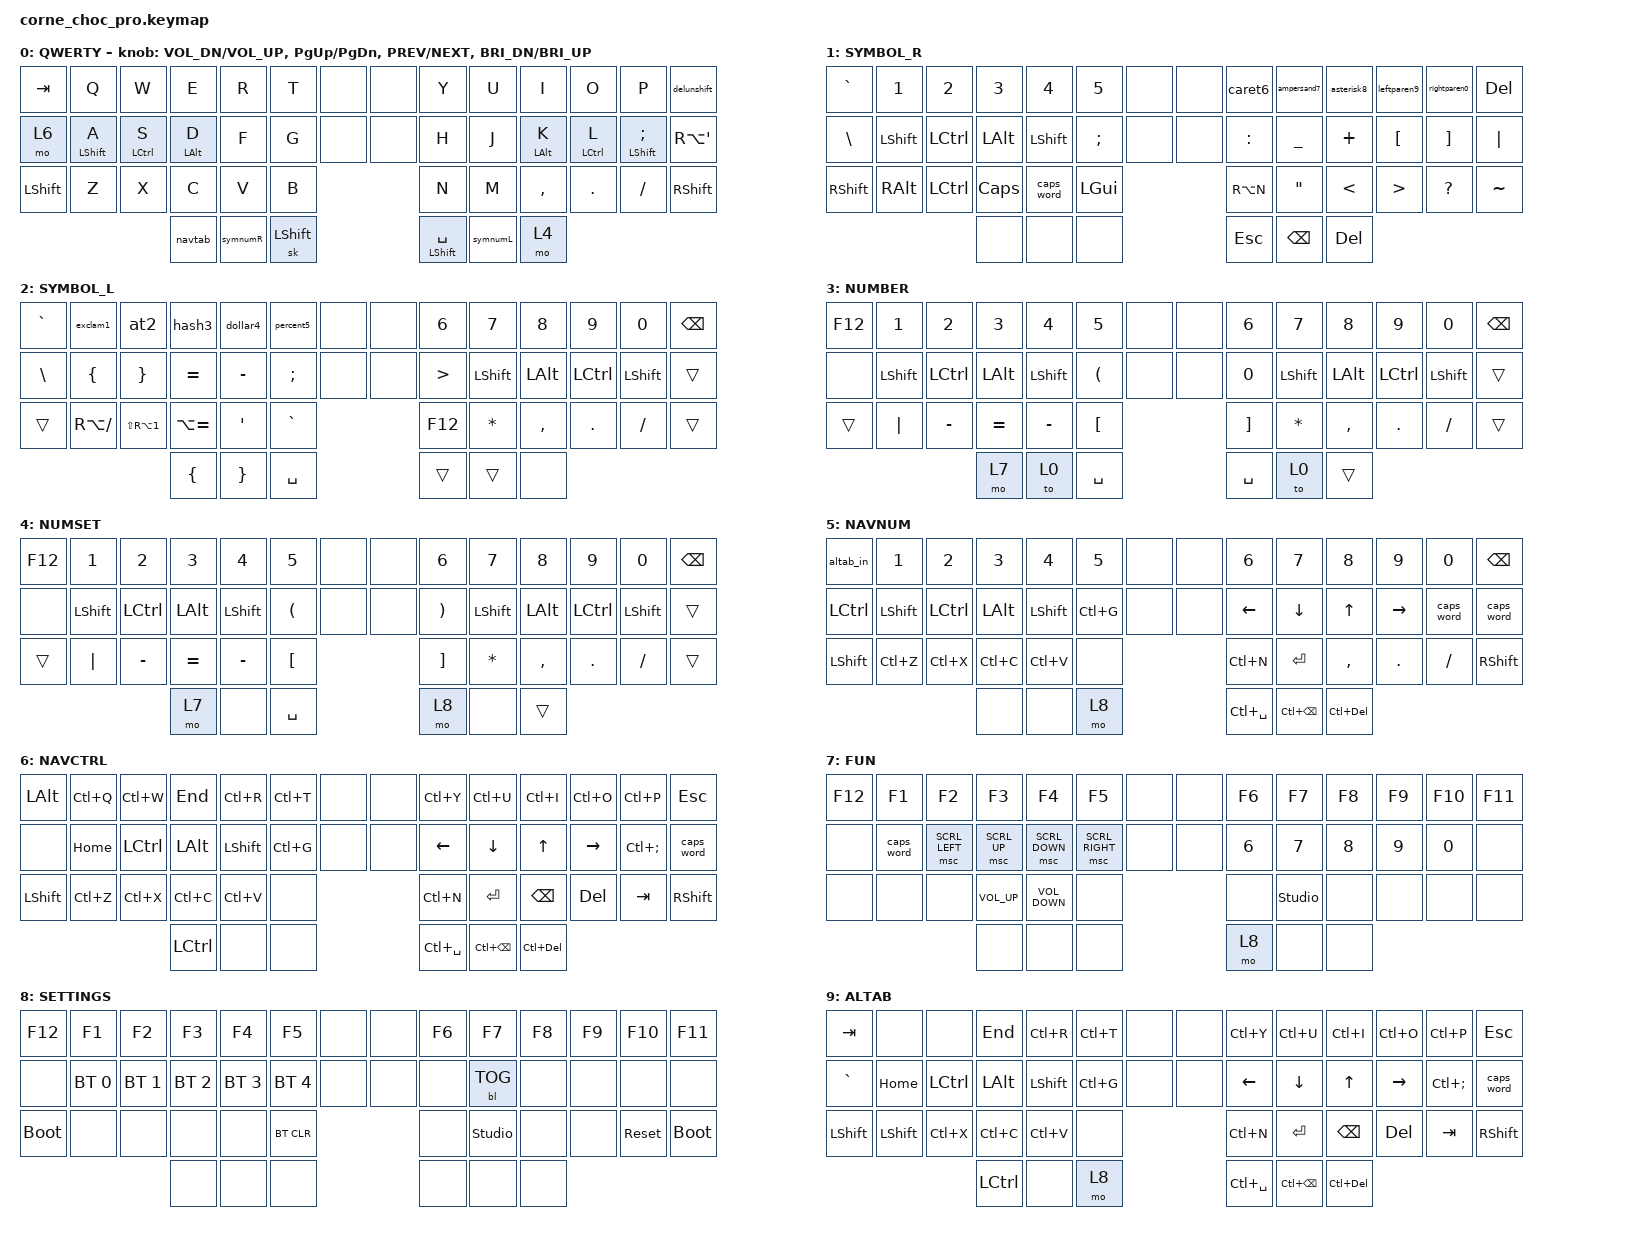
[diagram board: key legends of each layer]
/*
 * Copyright (c) 2020 The ZMK Contributors
 *
 * SPDX-License-Identifier: MIT
 */

#include <behaviors.dtsi>
#include <dt-bindings/zmk/backlight.h>
#include <dt-bindings/zmk/bt.h>
#include <dt-bindings/zmk/keys.h>
#include <dt-bindings/zmk/pointing.h>

&sk { quick-release; };

/ {
    chosen { zmk,physical-layout = &default_layout; };
};

/ {
    behaviors {
        hml: hml {
            compatible = "zmk,behavior-hold-tap";
            label = "HML";
            bindings = <&kp>, <&kp>;

            #binding-cells = <2>;
            tapping-term-ms = <280>;
            quick-tap-ms = <175>;
            require-prior-idle-ms = <150>;
            flavor = "balanced";
            hold-trigger-key-positions = <7 8 9 10 11 12 13 21 22 23 24 25 26 27 34 35 36 37 38 39 43 44 45 42>;
            hold-trigger-on-release;
        };

        hmr: hmr {
            compatible = "zmk,behavior-hold-tap";
            label = "HMR";
            bindings = <&kp>, <&kp>;

            #binding-cells = <2>;
            tapping-term-ms = <280>;
            quick-tap-ms = <175>;
            require-prior-idle-ms = <150>;
            flavor = "balanced";
            hold-trigger-on-release;
            hold-trigger-key-positions = <0 1 2 3 4 5 6 14 15 16 17 18 19 20 28 29 30 31 32 33 40 41 42>;
        };

        caret6: caret6 {
            compatible = "zmk,behavior-mod-morph";
            label = "CARET6";
            bindings = <&kp CARET>, <&kp NUMBER_6>;

            #binding-cells = <0>;
            mods = <(MOD_LSFT|MOD_RSFT)>;
        };

        ampersand7: ampersand7 {
            compatible = "zmk,behavior-mod-morph";
            label = "AMPERSAND7";
            bindings = <&kp AMPERSAND>, <&kp N7>;

            #binding-cells = <0>;
            mods = <(MOD_LSFT|MOD_RSFT)>;
        };

        asterisk8: asterisk8 {
            compatible = "zmk,behavior-mod-morph";
            label = "ASTERISK8";
            bindings = <&kp ASTERISK>, <&kp N8>;

            #binding-cells = <0>;
            mods = <(MOD_LSFT|MOD_RSFT)>;
        };

        leftparen9: leftparen9 {
            compatible = "zmk,behavior-mod-morph";
            label = "LEFTPAREN9";
            bindings = <&kp LEFT_PARENTHESIS>, <&kp N9>;

            #binding-cells = <0>;
            mods = <(MOD_LSFT|MOD_RSFT)>;
        };

        rightparen0: rightparen0 {
            compatible = "zmk,behavior-mod-morph";
            label = "RIGHTPAREN0";
            bindings = <&kp RIGHT_PARENTHESIS>, <&kp N0>;

            #binding-cells = <0>;
            mods = <(MOD_LSFT|MOD_RSFT)>;
        };

        mtbr: mtbr {
            compatible = "zmk,behavior-hold-tap";
            label = "mod-tap-balanced-right";
            bindings = <&kp>, <&kp>;

            #binding-cells = <2>;
            tapping-term-ms = <180>;
            quick-tap-ms = <150>;
            flavor = "tap-preferred";
            hold-trigger-key-positions = <0 1 2 3 4 5 6 14 15 16 17 18 19 20 28 29 30 31 32 33 40 41 42>;
        };

        mtbl: mtbl {
            compatible = "zmk,behavior-hold-tap";
            label = "mod-tap-balanced-left";
            bindings = <&kp>, <&kp>;

            #binding-cells = <2>;
            tapping-term-ms = <180>;
            quick-tap-ms = <150>;
            flavor = "balanced";
            hold-trigger-key-positions = <7 12 13 21 22 23 24 25 26 27 34 35 36 37 38 39 43 44 45 11 10 9 8>;
        };

        delunshift: delunshift {
            compatible = "zmk,behavior-mod-morph";
            label = "DELUNSHIFT";
            bindings = <&kp BACKSPACE>, <&kt LSHIFT>;

            #binding-cells = <0>;
            mods = <(MOD_LSFT)>;
        };

        symnumL: symnumL {
            compatible = "zmk,behavior-tap-dance";
            label = "SYMNUML";
            #binding-cells = <0>;
            bindings = <&mo 2>, <&mo_tog 3 3>;

            tapping-term-ms = <180>;
        };

        exclam1: exclam1 {
            compatible = "zmk,behavior-mod-morph";
            label = "EXCLAM1";
            bindings = <&kp EXCLAMATION>, <&kp NUMBER_1>;

            #binding-cells = <0>;
            mods = <(MOD_LSFT|MOD_RSFT)>;
        };

        at2: at2 {
            compatible = "zmk,behavior-mod-morph";
            label = "AT2";
            bindings = <&kp AT_SIGN>, <&kp NUMBER_2>;

            #binding-cells = <0>;
            mods = <(MOD_LSFT|MOD_RSFT)>;
        };

        hash3: hash3 {
            compatible = "zmk,behavior-mod-morph";
            label = "HASH3";
            bindings = <&kp POUND>, <&kp NUMBER_3>;

            #binding-cells = <0>;
            mods = <(MOD_LSFT|MOD_RSFT)>;
        };

        mo_tog: mo_tog {
            compatible = "zmk,behavior-hold-tap";
            label = "MO_TOG";
            bindings = <&mo>, <&tog>;

            #binding-cells = <2>;
            tapping-term-ms = <200>;
        };

        symnumR: symnumR {
            compatible = "zmk,behavior-tap-dance";
            label = "SYMNUMR";
            #binding-cells = <0>;
            bindings = <&mo 1>, <&mo_tog 3 3>;

            tapping-term-ms = <180>;
        };

        dollar4: dollar4 {
            compatible = "zmk,behavior-mod-morph";
            label = "DOLLAR4";
            bindings = <&kp DOLLAR>, <&kp NUMBER_3>;

            #binding-cells = <0>;
            mods = <(MOD_LSFT|MOD_RSFT)>;
        };

        percent5: percent5 {
            compatible = "zmk,behavior-mod-morph";
            label = "PERCENT5";
            bindings = <&kp PERCENT>, <&kp NUMBER_5>;

            #binding-cells = <0>;
            mods = <(MOD_LSFT|MOD_RSFT)>;
        };
    };

    macros {
        navtab: nav_and_altab {
            compatible = "zmk,behavior-macro";
            #binding-cells = <0>;
            bindings =
                <&macro_press>,
                <&to 5>,
                <&macro_pause_for_release>,
                <&macro_release>,
                <&kp LALT>,
                <&macro_tap>,
                <&to 0>;

            label = "NAV_AND_ALTAB";
            wait-ms = <0>;
            tap-ms = <0>;
        };

        altab_in: altab_enter {
            compatible = "zmk,behavior-macro";
            #binding-cells = <0>;
            bindings =
                <&macro_press>,
                <&kp LALT>,
                <&macro_tap>,
                <&kp TAB &to 9>;

            label = "ALTAB_ENTER";
            wait-ms = <10>;
            tap-ms = <20>;
        };
    };

    keymap {
        compatible = "zmk,keymap";

        base {
            display-name = "QWERTY";

            // --------------------------------------------------------------------------------
            // |  TAB |  Q  |  W  |  E  |  R  |  T  |  MUTE |  PP   |  Y  |  U   |  I  |  O  |  P  | BSPC |
            // | CTRL |  A  |  S  |  D  |  F  |  G  |  LALT |  RALT |  H  |  J   |  K  |  L  |  ;  |  '   |
            // | SHFT |  Z  |  X  |  C  |  V  |  B  |               |  N  |  M   |  ,  |  .  |  /  | ESC  |
            //                    | GUI | LWR | SPC |               | ENT | RSE  | ALT |

            bindings = <
&kp TAB    &kp Q              &kp W                &kp E            &kp R     &kp T      &none  &none  &kp Y                   &kp U     &kp I            &kp O                &kp P                 &delunshift
&mo 6      &hml LEFT_SHIFT A  &hml LEFT_CONTROL S  &hml LEFT_ALT D  &kp F     &kp G      &none  &none  &kp H                   &kp J     &hmr LEFT_ALT K  &hmr LEFT_CONTROL L  &hmr LEFT_SHIFT SEMI  &kp RA(SQT)
&kp LSHFT  &kp Z              &kp X                &kp C            &kp V     &kp B                    &kp N                   &kp M     &kp COMMA        &kp DOT              &kp FSLH              &kp RSHFT
                                                   &navtab          &symnumR  &sk LSHFT                &mtbr LEFT_SHIFT SPACE  &symnumL  &mo 4
            >;

            sensor-bindings = <&inc_dec_kp C_VOL_DN C_VOL_UP &inc_dec_kp PG_UP PG_DN &inc_dec_kp C_PREV C_NEXT &inc_dec_kp C_BRI_DN C_BRI_UP>;
        };

        symbol-right {
            display-name = "SYMBOL_R";

            // -----------------------------------------------------------------------------------------
            // |  TAB |  !  |  @  |  #  |  $  |  %  | LCTRL | RCTRL |  ^  |  &  |  *  |  (  |  )  | BSPC |
            // | CTRL |     |     |     |     |     |  LALT | RALT  |  -  |  =  |  [  |  ]  |  \  |  `   |
            // | SHFT |     |     |     |     |     |               |  _  |  +  |  {  |  }  | "|" |  ~   |
            //                    | GUI |     | SPC |               | ENT |     | ALT |

            bindings = <
&kp GRAVE  &kp N1         &kp N2     &kp N3        &kp N4      &kp N5         &none  &none  &caret6    &ampersand7        &asterisk8     &leftparen9       &rightparen0       &kp DEL
&kp BSLH   &kp LSHFT      &kp LCTRL  &kp LALT      &kp LSHFT   &kp SEMICOLON  &none  &none  &kp COLON  &kp UNDERSCORE     &kp PLUS       &kp LEFT_BRACKET  &kp RIGHT_BRACKET  &kp PIPE
&kp RSHFT  &kp RIGHT_ALT  &kp LCTRL  &kp CAPSLOCK  &caps_word  &kp LEFT_GUI                 &kp RA(N)  &kp DOUBLE_QUOTES  &kp LESS_THAN  &kp GREATER_THAN  &kp QUESTION       &kp TILDE
                                     &none         &none       &none                        &kp ESC    &kp BSPC           &kp DEL
            >;
        };

        symbol-left {
            display-name = " SYMBOL_L";
            bindings = <
&kp GRAVE  &exclam1        &at2                  &hash3          &dollar4         &percent5      &none  &none  &kp N6            &kp N7     &kp N8     &kp N9     &kp N0     &kp BSPC
&kp BSLH   &kp LEFT_BRACE  &kp RIGHT_BRACE       &kp EQUAL       &kp MINUS        &kp SEMICOLON  &none  &none  &kp GREATER_THAN  &kp LSHFT  &kp LALT   &kp LCTRL  &kp LSHFT  &trans
&trans     &kp RA(SLASH)   &kp LS(RA(NUMBER_1))  &kp LA(EQUAL)   &kp SQT          &kp GRAVE                    &kp F12           &kp ASTRK  &kp COMMA  &kp DOT    &kp FSLH   &trans
                                                 &kp LEFT_BRACE  &kp RIGHT_BRACE  &kp SPACE                    &trans            &trans     &none
            >;
        };

        number {
            display-name = "NUMBER";
            bindings = <
&kp F12  &kp N1          &kp N2            &kp N3        &kp N4          &kp N5                &none  &none  &kp N6     &kp N7     &kp N8     &kp N9     &kp N0     &kp BSPC
&none    &kp LEFT_SHIFT  &kp LEFT_CONTROL  &kp LEFT_ALT  &kp LEFT_SHIFT  &kp LEFT_PARENTHESIS  &none  &none  &kp N0     &kp LSHFT  &kp LALT   &kp LCTRL  &kp LSHFT  &trans
&trans   &kp PIPE        &kp MINUS         &kp EQUAL     &kp MINUS       &kp LBKT                            &kp RBKT   &kp ASTRK  &kp COMMA  &kp DOT    &kp FSLH   &trans
                                           &mo 7         &to 0           &kp SPACE                           &kp SPACE  &to 0      &trans
            >;
        };

        numsett {
            display-name = "NUMSET";
            bindings = <
&kp F12  &kp N1          &kp N2            &kp N3        &kp N4          &kp N5                &none  &none  &kp N6                 &kp N7     &kp N8     &kp N9     &kp N0     &kp BSPC
&none    &kp LEFT_SHIFT  &kp LEFT_CONTROL  &kp LEFT_ALT  &kp LEFT_SHIFT  &kp LEFT_PARENTHESIS  &none  &none  &kp RIGHT_PARENTHESIS  &kp LSHFT  &kp LALT   &kp LCTRL  &kp LSHFT  &trans
&trans   &kp PIPE        &kp MINUS         &kp EQUAL     &kp MINUS       &kp LEFT_BRACKET                    &kp RIGHT_BRACKET      &kp ASTRK  &kp COMMA  &kp DOT    &kp FSLH   &trans
                                           &mo 7         &none           &kp SPACE                           &mo 8                  &none      &trans
            >;
        };

        navnumber {
            display-name = "NAVNUM";
            bindings = <
&altab_in       &kp N1          &kp N2     &kp N3     &kp N4     &kp N5     &none  &none  &kp N6         &kp N7        &kp N8       &kp N9     &kp N0      &kp BACKSPACE
&kp LCTRL       &kp LEFT_SHIFT  &kp LCTRL  &kp LALT   &kp LSHFT  &kp LC(G)  &none  &none  &kp LEFT       &kp DOWN      &kp UP       &kp RIGHT  &caps_word  &caps_word
&kp LEFT_SHIFT  &kp LC(Z)       &kp LC(X)  &kp LC(C)  &kp LC(V)  &none                    &kp LC(N)      &kp RET       &kp COMMA    &kp DOT    &kp FSLH    &kp RIGHT_SHIFT
                                           &none      &none      &mo 8                    &kp LC(SPACE)  &kp LC(BSPC)  &kp LC(DEL)
            >;
        };

        navcontrol {
            display-name = "NAVCTRL";
            bindings = <
&kp LEFT_ALT    &kp LC(Q)  &kp LC(W)  &kp END           &kp LC(R)  &kp LC(T)  &none  &none  &kp LC(Y)      &kp LC(U)     &kp LC(I)    &kp LC(O)  &kp LC(P)          &kp ESC
&none           &kp HOME   &kp LCTRL  &kp LALT          &kp LSHFT  &kp LC(G)  &none  &none  &kp LEFT       &kp DOWN      &kp UP       &kp RIGHT  &kp LC(SEMICOLON)  &caps_word
&kp LEFT_SHIFT  &kp LC(Z)  &kp LC(X)  &kp LC(C)         &kp LC(V)  &none                    &kp LC(N)      &kp RET       &kp BSPC     &kp DEL    &kp TAB            &kp RIGHT_SHIFT
                                      &kp LEFT_CONTROL  &none      &none                    &kp LC(SPACE)  &kp LC(BSPC)  &kp LC(DEL)
            >;
        };

        funtion {
            display-name = "FUN";
            bindings = <
&kp F12  &kp F1      &kp F2          &kp F3           &kp F4             &kp F5           &none  &none  &kp F6  &kp F7          &kp F8  &kp F9  &kp F10  &kp F11
&none    &caps_word  &msc SCRL_LEFT  &msc SCRL_UP     &msc SCRL_DOWN     &msc SCRL_RIGHT  &none  &none  &kp N6  &kp N7          &kp N8  &kp N9  &kp N0   &none
&none    &none       &none           &kp C_VOLUME_UP  &kp C_VOLUME_DOWN  &none                          &none   &studio_unlock  &none   &none   &none    &none
                                     &none            &none              &none                          &mo 8   &none           &none
            >;
        };

        settings {
            display-name = "SETTINGS";
            bindings = <
&kp F12      &kp F1        &kp F2        &kp F3        &kp F4        &kp F5        &none  &none  &kp F6  &kp F7          &kp F8  &kp F9  &kp F10     &kp F11
&none        &bt BT_SEL 0  &bt BT_SEL 1  &bt BT_SEL 2  &bt BT_SEL 3  &bt BT_SEL 4  &none  &none  &none   &bl BL_TOG      &none   &none   &none       &none
&bootloader  &none         &none         &none         &none         &bt BT_CLR                  &none   &studio_unlock  &none   &none   &sys_reset  &bootloader
                                         &none         &none         &none                       &none   &none           &none
            >;
        };

        altab {
            display-name = "ALTAB";
            bindings = <
&kp TAB         &none      &none      &kp END           &kp LC(R)  &kp LC(T)  &none  &none  &kp LC(Y)      &kp LC(U)     &kp LC(I)    &kp LC(O)  &kp LC(P)          &kp ESC
&kp GRAVE       &kp HOME   &kp LCTRL  &kp LALT          &kp LSHFT  &kp LC(G)  &none  &none  &kp LEFT       &kp DOWN      &kp UP       &kp RIGHT  &kp LC(SEMICOLON)  &caps_word
&kp LEFT_SHIFT  &kp LSHFT  &kp LC(X)  &kp LC(C)         &kp LC(V)  &none                    &kp LC(N)      &kp RET       &kp BSPC     &kp DEL    &kp TAB            &kp RIGHT_SHIFT
                                      &kp LEFT_CONTROL  &none      &mo 8                    &kp LC(SPACE)  &kp LC(BSPC)  &kp LC(DEL)
            >;
        };
    };

    conditional_layers { compatible = "zmk,conditional-layers"; };
};
